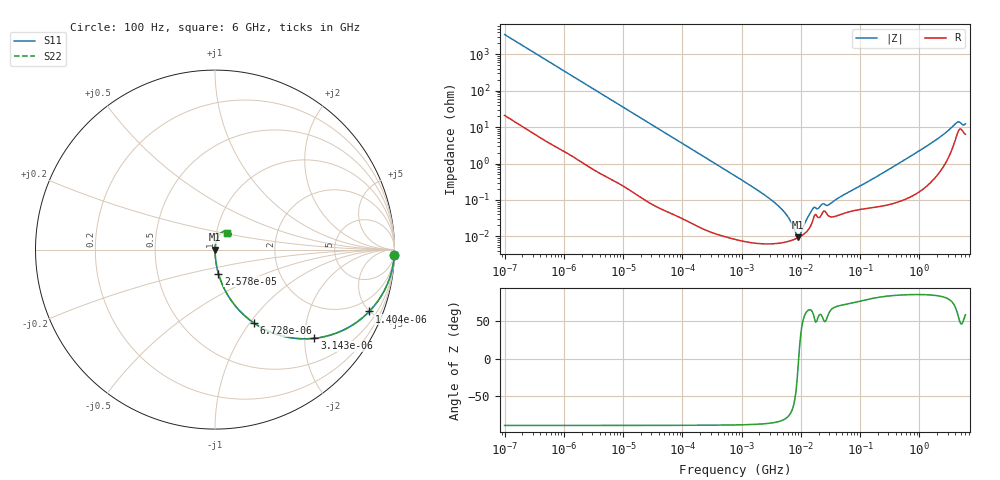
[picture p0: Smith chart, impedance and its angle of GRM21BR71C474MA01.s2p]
!Murata Part Number: GRM21BR71C474MA01
!These Parameters are Measured in Series Mode Connection
!Data Generated on Mar 30, 2021
!  o--ll--o
!Port1  Port2
!  o------o
!Operation Temp=25[degC], DC Bias Voltage=0[V]
!Freq. Start=100[Hz] Stop=6[GHz] 401[Steps]
# Hz S RI R 50
!Freq.(Hz) S11(Real) S11(Imag) S21(Real) S21(Imag) S12(Real) S12(Imag) S22(Real) S22(Imag)
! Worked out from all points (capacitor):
!   401 points, 100 Hz to 6 GHz, reference 50 ohm
!   read as one part in series: C = 460 nF near 109 Hz
!   lowest |Z| = 9.37 mohm at 9.09 MHz (marker M1)
!   series resonance near 9.205 MHz, so ESL is about 650 pH
!   S11 on the Smith chart (normalised r, x): 100 Hz: 1, -69; 1.404 kHz: 1.03, -4.97; 3.143 kHz: 1.01, -2.23; 6.728 kHz: 1.01, -1.04; 25.78 kHz: 1.00, -0.27; 6 GHz: 1.13, +0.21
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100  0.999 -0.0289  0.00101 0.0289  0.00101 0.0289  0.999 -0.0289
438  0.9836 -0.124  0.0164 0.124  0.0164 0.124  0.9836 -0.124
1404  0.8592 -0.3447  0.1408 0.3447  0.1408 0.3447  0.8592 -0.3447
2008  0.7505 -0.4297  0.2495 0.4297  0.2495 0.4297  0.7505 -0.4297
3143  0.5535 -0.4941  0.4465 0.4941  0.4465 0.4941  0.5535 -0.4941
6728  0.2156 -0.4079  0.7844 0.4079  0.7844 0.4079  0.2156 -0.4079
12041  0.0803 -0.2684  0.9197 0.2684  0.9197 0.2684  0.0803 -0.2684
25777  0.0193 -0.1342  0.9807 0.1342  0.9807 0.1342  0.0193 -0.1342
40335  0.00822 -0.0869  0.9918 0.0869  0.9918 0.0869  0.00822 -0.0869
774597  0.000104 -0.00459  0.9999 0.00459  0.9999 0.00459  0.000104 -0.00459
4246196  6.54e-05 -0.000669  0.9999 0.000669  0.9999 0.000669  6.54e-05 -0.000669
6075234  7.27e-05 -0.000336  0.9999 0.000336  0.9999 0.000336  7.27e-05 -0.000336
8311524  8.69e-05 -8.11e-05  0.9999 8.11e-05  0.9999 8.11e-05  8.69e-05 -8.11e-05
9090158  9.32e-05 -9.9e-06  0.9999 9.9e-06  0.9999 9.9e-06  9.32e-05 -9.9e-06
9941735  0.000101 6.2e-05  0.9999 -6.2e-05  0.9999 -6.2e-05  0.000101 6.2e-05
1.555665e7  0.000244 0.000483  0.9998 -0.000483  0.9998 -0.000483  0.000244 0.000483
2.327686e7  0.000447 0.00064  0.9996 -0.00064  0.9996 -0.00064  0.000447 0.00064
3.045065e7  0.000353 0.00067  0.9996 -0.00067  0.9996 -0.00067  0.000353 0.00067
3.124326e8  0.000797 0.00699  0.9992 -0.00699  0.9992 -0.00699  0.000797 0.00699
1.712697e9  0.00503 0.0388  0.995 -0.0388  0.995 -0.0388  0.00503 0.0388
4.193612e9  0.0616 0.1045  0.9384 -0.1045  0.9384 -0.1045  0.0616 0.1045
6e9  0.0687 0.0914  0.9313 -0.0914  0.9313 -0.0914  0.0687 0.0914
